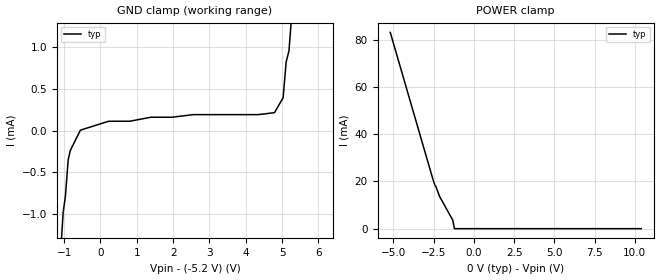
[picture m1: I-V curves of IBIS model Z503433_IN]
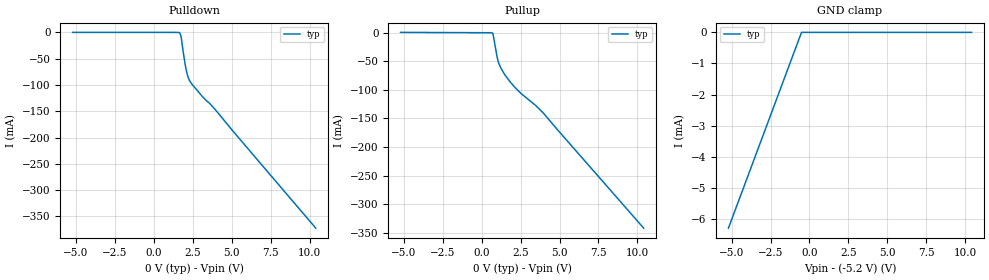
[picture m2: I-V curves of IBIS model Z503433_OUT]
| YOU ARE ONLY AUTHORIZED TO USE THIS SOFTWARE
| ACCORDING TO LICENSOR'S LICENSE RESTRICTIONS.
[IBIS Ver] 3.1
[File Name] mc10h102l.ibs
[File Rev] 2.0
[Source] Measured and created by ICX Technology
[Date] Friday 7/14/00 9:07:50 AM
[Copyright]
| (C) COPYRIGHT 1993-2000
| MENTOR GRAPHICS CORPORATION
| ICX STANDARD LIBRARY, ICX PROJECT MODELING,
| ICX CUSTOM MODELING, ICX VENDOR MODEL
| ALL RIGHTS RESERVED.
| THE FOLLOWING ARE TRADEMARKS OR SERVICE MARKS OF
| MENTOR GRAPHICS CORPORATION:ICX (R), ICX STANDARD
| LIBRARY(R), ICX PROJECT MODELING(R), ICX CUSTOM
| MODELING(R), qualityIBIS(TM), MODELVIEWER(TM),
| AND MODELEDITOR(TM)
| ALL COPIES OF SOFTWARE, INCLUDING BUT NOT LIMITED TO
| ANY MODIFICATIONS, ENHANCEMENTS OR DERIVATIVE WORKS,
| MUST CONTAIN ALL MENTOR GRAPHICS CORPORATION'S
| NOTICES AND LEGENDS, INCLUDING THOSE EMBEDDED IN
| SOFTWARE AND THOSE AFFIXED TO SOFTWARE MEDIUM
| AND CONTAINER, AS RECEIVED FROM MENTOR GRAPHICS
| CORPORATION.
|  ZAP Model Builder 2.7
[Component] MC10H102L
[Manufacturer] OnSemiconductor
[Package]
| variable   typ   min   max
R_pkg  .212ohms NA NA
L_pkg  4.758nH NA NA
C_pkg  1.944pF NA NA
[Pin] signal_name  model_name  R_pin  L_pin C_pin
1 VCC1 POWER .224 7.258n 2.683p
2 AOUT Z503433_OUT .216 5.258n 2.19p
3 BOUT Z503433_OUT .208 3.758n 1.697p
4 AIN Z503433_IN .2 2.758n 1.204p
5 AIN Z503433_IN .2 2.758n 1.204p
6 BIN Z503433_IN .208 3.758n 1.697p
7 BIN Z503433_IN .216 5.258n 2.19p
8 VEE POWER .224 7.258n 2.683p
9 DOUT Z503433_OUT .224 7.258n 2.683p
10 CIN Z503433_IN .216 5.258n 2.19p
11 CIN Z503433_IN .208 3.758n 1.697p
12 DIN Z503433_IN .2 2.758n 1.204p
13 DIN Z503433_IN .2 2.758n 1.204p
14 COUT Z503433_OUT .208 3.758n 1.697p
15 _DOUT Z503433_OUT .216 5.258n 2.19p
16 VCC2 POWER .224 7.258n 2.683p
| Models and submodels in the file (2): Z503433_IN (Input_ECL), Z503433_OUT (Output_ECL)
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| (C) COPYRIGHT 1993-2000
| MENTOR GRAPHICS CORPORATION
| ICX STANDARD LIBRARY, ICX PROJECT MODELING,
| ICX CUSTOM MODELING, ICX VENDOR MODEL
| ALL RIGHTS RESERVED.
| THE FOLLOWING ARE TRADEMARKS OR SERVICE MARKS OF
| MENTOR GRAPHICS CORPORATION:ICX (R), ICX STANDARD
| LIBRARY(R), ICX PROJECT MODELING(R), ICX CUSTOM
| MODELING(R), qualityIBIS(TM), MODELVIEWER(TM),
| AND MODELEDITOR(TM)
| ALL COPIES OF SOFTWARE, INCLUDING BUT NOT LIMITED TO
| ANY MODIFICATIONS, ENHANCEMENTS OR DERIVATIVE WORKS,
| MUST CONTAIN ALL MENTOR GRAPHICS CORPORATION'S
| NOTICES AND LEGENDS, INCLUDING THOSE EMBEDDED IN
| SOFTWARE AND THOSE AFFIXED TO SOFTWARE MEDIUM
| AND CONTAINER, AS RECEIVED FROM MENTOR GRAPHICS
| CORPORATION.
| Model Application Version 1.89 2/18/99.
[Model] Z503433_IN
Model_type Input_ECL
Vinl = -1.480V
Vinh = -1.130V
C_comp 4.000pF NA NA
| variable typ   min   max
[Voltage Range] -5.200V NA NA
[GND Clamp Reference] -5.200V NA NA
[POWER Clamp Reference] 0.000V NA NA
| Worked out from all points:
|   GND clamp passes 1 mA (typ) near -1.03 V on its own axis
|   POWER clamp passes 1 mA (typ) near -1.24 V on its own axis
[GND Clamp]
-5.2V     -9.024mA   NA         NA
-1.067V   -1.264mA   NA         NA
-1.029V   -988.1uA   NA         NA
-967mV    -793.7uA   NA         NA
-889mV    -349.7uA   NA         NA
-553.3mV  4.451uA    NA         NA
1.385V    159.8uA    NA         NA
4.791V    214.8uA    NA         NA
5.029V    394.2uA    NA         NA
5.112V    823.5uA    NA         NA
5.19V     959.8uA    NA         NA
10.4V     30.7mA     NA         NA
[POWER Clamp]
-5.2V     83.08mA    NA         NA
-2.524V   20.34mA    NA         NA
-2.427V   18.44mA    NA         NA
-2.365V   17.85mA    NA         NA
-2.134V   13.64mA    NA         NA
-1.313V   3.58mA     NA         NA
-1.212V   0A         NA         NA
10.4V     0A         NA         NA
| (C) COPYRIGHT 1993-2000
| MENTOR GRAPHICS CORPORATION
| ICX STANDARD LIBRARY, ICX PROJECT MODELING,
| ICX CUSTOM MODELING, ICX VENDOR MODEL
| ALL RIGHTS RESERVED.
| THE FOLLOWING ARE TRADEMARKS OR SERVICE MARKS OF
| MENTOR GRAPHICS CORPORATION:ICX (R), ICX STANDARD
| LIBRARY(R), ICX PROJECT MODELING(R), ICX CUSTOM
| MODELING(R), qualityIBIS(TM), MODELVIEWER(TM),
| AND MODELEDITOR(TM)
| ALL COPIES OF SOFTWARE, INCLUDING BUT NOT LIMITED TO
| ANY MODIFICATIONS, ENHANCEMENTS OR DERIVATIVE WORKS,
| MUST CONTAIN ALL MENTOR GRAPHICS CORPORATION'S
| NOTICES AND LEGENDS, INCLUDING THOSE EMBEDDED IN
| SOFTWARE AND THOSE AFFIXED TO SOFTWARE MEDIUM
| AND CONTAINER, AS RECEIVED FROM MENTOR GRAPHICS
| CORPORATION.
| Model Application Version 1.89 2/18/99.
[Model] Z503433_OUT
Model_type Output_ECL
Vref=-2.000V
Rref=50.00ohms
Cref=0.000F
Vmeas=-1.305V
C_comp 8.000pF NA NA
| variable typ   min   max
[Voltage Range] -5.200V NA NA
[POWER Clamp Reference] 0.000V NA NA
[Pullup Reference] 0.000V NA NA
[Pulldown Reference] 0.000V NA NA
[GND Clamp Reference] -5.200V NA NA
[GND Clamp]
-5.2V     -6.292mA   NA         NA
-512.5mV  0A         NA         NA
10.4V     0A         NA         NA
[Pulldown]
-5.2V     99.57uA    NA         NA
1.665V    -756.6uA   NA         NA
1.738V    -5.321mA   NA         NA
1.774V    -10.57mA   NA         NA
1.915V    -41.2mA    NA         NA
2.066V    -68.37mA   NA         NA
2.173V    -82.06mA   NA         NA
2.3V      -91.91mA   NA         NA
3.149V    -122.8mA   NA         NA
3.941V    -146.4mA   NA         NA
5.108V    -188.5mA   NA         NA
10.4V     -372.4mA   NA         NA
[Pullup]
-5.2V     662.8uA    NA         NA
588mV     56.84uA    NA         NA
727.6mV   -1.158mA   NA         NA
981.5mV   -40.44mA   NA         NA
1.05V     -48.9mA    NA         NA
1.108V    -53.72mA   NA         NA
1.407V    -69.9mA    NA         NA
1.867V    -87.16mA   NA         NA
2.549V    -106.7mA   NA         NA
3.462V    -127.1mA   NA         NA
3.949V    -140.1mA   NA         NA
10.4V     -342mA     NA         NA
[POWER Clamp]
-5.2V     0A         NA         NA
10.4V     0A         NA         NA
[Ramp]
| variable typ min max
dV/dt_r 553.6m/596.7p NA NA
dV/dt_f 553.6m/592.8p NA NA
R_load = 500.0Ohms
